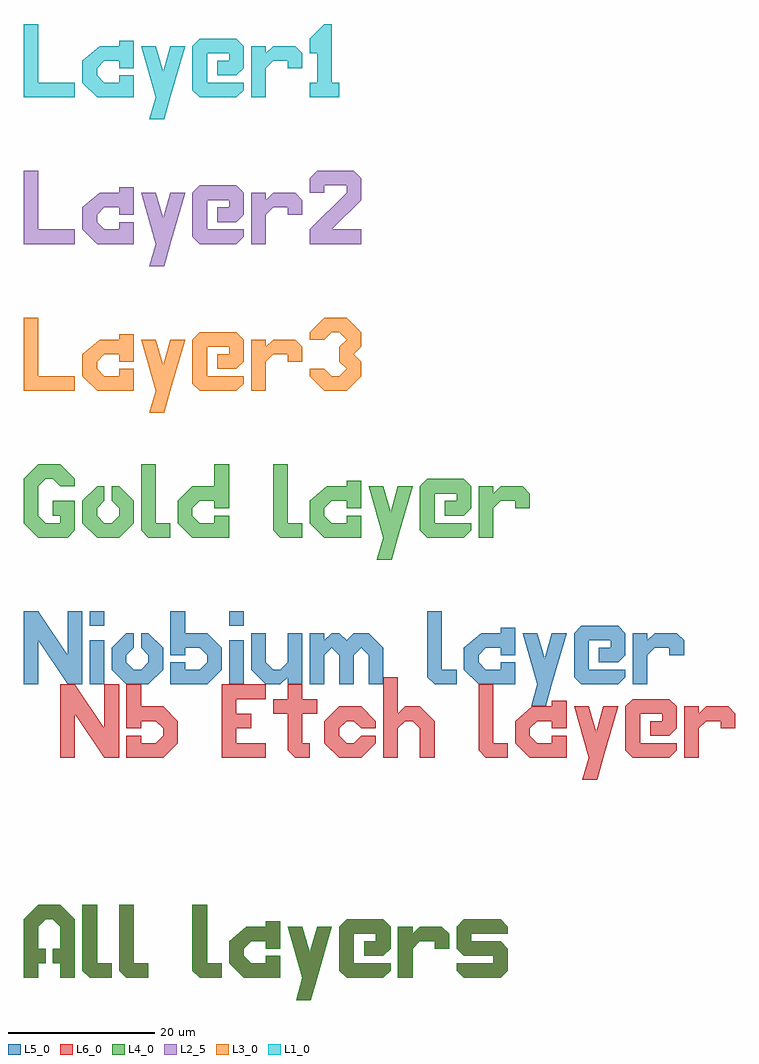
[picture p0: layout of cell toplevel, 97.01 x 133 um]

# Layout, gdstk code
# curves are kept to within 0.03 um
import gdstk
lib = gdstk.Library(unit=1e-6, precision=1e-09)
def P(c, l, *ps):  # polygons
    for p in ps: c.add(gdstk.Polygon(p, *l))
L1_0 = (1, 0)
L2_5 = (2, 5)
L3_0 = (3, 0)
L4_0 = (4, 0)
L5_0 = (5, 0)
L6_0 = (6, 0)

textline = lib.new_cell('textline')
P(textline, L1_0, [(1,10),(3,10),(3,2),(8,2),(8,0),(1,0),(1,10)],
  [(16,0),(11,0),(9,2),(9,5),(11.34,7),(14,7),(14,7.75),(16,7.75),(16,4),(14,4),(14,5),(12,5),(11,4),(11,3),(12,2),(14,2),(14,3),(16,3)],
  [(18.14,-3),(19,0),(17,7),(19,7),(20,3.5),(21,7),(23,7),(21,0),(20.14,-3),(18.14,-3)],
  [(25,0),(24,1),(24,7),(25,8),(30,8),(31,7),(31,4),(30,3),(27.4,3),(27.4,5),(29,5),(29,6),(26,6),(26,2),(31,2),(31,1),(30,0)],
  [(37,4),(37,5),(35,5),(34,4),(34,0),(32,0),(32,7),(34,7),(34,6),(35,7),(38,7),(39,6),(39,4)],
  [(41,6),(40,6),(40,8),(42,10),(43,10),(43,2),(44,2),(44,0),(40,0),(40,2),(41,2)])

text = lib.new_cell('text')
text.add(gdstk.Reference(textline, (0,0)))

textline001 = lib.new_cell('textline001')
P(textline001, L2_5, [(1,10),(3,10),(3,2),(8,2),(8,0),(1,0),(1,10)],
  [(16,0),(11,0),(9,2),(9,5),(11.34,7),(14,7),(14,7.75),(16,7.75),(16,4),(14,4),(14,5),(12,5),(11,4),(11,3),(12,2),(14,2),(14,3),(16,3)],
  [(18.14,-3),(19,0),(17,7),(19,7),(20,3.5),(21,7),(23,7),(21,0),(20.14,-3),(18.14,-3)],
  [(25,0),(24,1),(24,7),(25,8),(30,8),(31,7),(31,4),(30,3),(27.4,3),(27.4,5),(29,5),(29,6),(26,6),(26,2),(31,2),(31,1),(30,0)],
  [(37,4),(37,5),(35,5),(34,4),(34,0),(32,0),(32,7),(34,7),(34,6),(35,7),(38,7),(39,6),(39,4)],
  [(40,9),(41,10),(46,10),(47,9),(47,6),(43,2),(47,2),(47,0),(40,0),(40,2),(45,7),(45,8),(42,8),(42,7),(40,7)])

text001 = lib.new_cell('text001')
text001.add(gdstk.Reference(textline001, (0,0)))

textline002 = lib.new_cell('textline002')
P(textline002, L3_0, [(1,10),(3,10),(3,2),(8,2),(8,0),(1,0),(1,10)],
  [(16,0),(11,0),(9,2),(9,5),(11.34,7),(14,7),(14,7.75),(16,7.75),(16,4),(14,4),(14,5),(12,5),(11,4),(11,3),(12,2),(14,2),(14,3),(16,3)],
  [(18.14,-3),(19,0),(17,7),(19,7),(20,3.5),(21,7),(23,7),(21,0),(20.14,-3),(18.14,-3)],
  [(25,0),(24,1),(24,7),(25,8),(30,8),(31,7),(31,4),(30,3),(27.4,3),(27.4,5),(29,5),(29,6),(26,6),(26,2),(31,2),(31,1),(30,0)],
  [(37,4),(37,5),(35,5),(34,4),(34,0),(32,0),(32,7),(34,7),(34,6),(35,7),(38,7),(39,6),(39,4)],
  [(45,10),(47,8),(47,6),(46,5),(47,4),(47,2),(45,0),(42,0),(40,2),(40,3),(42,3),(43,2),(44,2),(45,3),(44,4),(44,6),(45,7),(44,8),(43,8),(42,7),(40,7),(40,8),(42,10)])

text002 = lib.new_cell('text002')
text002.add(gdstk.Reference(textline002, (0,0)))

textline003 = lib.new_cell('textline003')
P(textline003, L4_0, [(3,0),(1,2),(1,8),(3,10),(6,10),(8,8),(8,7),(6,7),(5,8),(4,8),(3,7),(3,3),(4,2),(6,2),(6,3),(5,3),(5,5),(8,5),(8,1),(7,0)],
  [(14,7),(16,5),(16,2),(14,0),(11,0),(9,2),(9,5),(11,7),(12,7),(12,5),(11,4),(11,3),(12,2),(13,2),(14,3),(14,4),(13,5),(13,7)],
  [(21,0),(18,0),(17,1),(17,10),(19,10),(19,2),(21,2),(21,0)],
  [(29,0),(24,0),(22,2),(22,5),(24,7),(27,7),(27,10),(29,10),(29,4),(27,4),(27,5),(25,5),(24,4),(24,3),(25,2),(27,2),(27,3),(29,3)],
  [(39,0),(36,0),(35,1),(35,10),(37,10),(37,2),(39,2),(39,0)],
  [(47,0),(42,0),(40,2),(40,5),(42.34,7),(45,7),(45,7.75),(47,7.75),(47,4),(45,4),(45,5),(43,5),(42,4),(42,3),(43,2),(45,2),(45,3),(47,3)],
  [(49.14,-3),(50,0),(48,7),(50,7),(51,3.5),(52,7),(54,7),(52,0),(51.14,-3),(49.14,-3)],
  [(56,0),(55,1),(55,7),(56,8),(61,8),(62,7),(62,4),(61,3),(58.4,3),(58.4,5),(60,5),(60,6),(57,6),(57,2),(62,2),(62,1),(61,0)],
  [(68,4),(68,5),(66,5),(65,4),(65,0),(63,0),(63,7),(65,7),(65,6),(66,7),(69,7),(70,6),(70,4)])

text003 = lib.new_cell('text003')
text003.add(gdstk.Reference(textline003, (0,0)))

textline004 = lib.new_cell('textline004')
P(textline004, L5_0, [(1,10),(3,10),(7,4),(7,10),(9,10),(9,0),(7,0),(3,6),(3,0),(1,0),(1,10)],
  [(10,0),(10,6),(12,6),(12,0),(10,0)],
  [(12,10),(12,8),(10,8),(10,10),(12,10)],
  [(18,7),(20,5),(20,2),(18,0),(15,0),(13,2),(13,5),(15,7),(16,7),(16,5),(15,4),(15,3),(16,2),(17,2),(18,3),(18,4),(17,5),(17,7)],
  [(21,3),(23,3),(23,2),(25,2),(26,3),(26,4),(25,5),(23,5),(23,4),(21,4),(21,10),(23,10),(23,7),(26,7),(28,5),(28,2),(26,0),(21,0)],
  [(29,0),(29,6),(31,6),(31,0),(29,0)],
  [(31,10),(31,8),(29,8),(29,10),(31,10)],
  [(34,7),(34,3),(35,2),(36,2),(37,3),(37,7),(39,7),(39,0),(37,0),(37,1),(36,0),(34,0),(32,2),(32,7)],
  [(44,4),(43,5),(42,4),(42,0),(40,0),(40,7),(42,7),(42,6),(43,7),(44,7),(45,6),(46,7),(48,7),(50,5),(50,0),(48,0),(48,4),(47,5),(46,4),(46,0),(44,0)],
  [(60,0),(57,0),(56,1),(56,10),(58,10),(58,2),(60,2),(60,0)],
  [(68,0),(63,0),(61,2),(61,5),(63.34,7),(66,7),(66,7.75),(68,7.75),(68,4),(66,4),(66,5),(64,5),(63,4),(63,3),(64,2),(66,2),(66,3),(68,3)],
  [(70.14,-3),(71,0),(69,7),(71,7),(72,3.5),(73,7),(75,7),(73,0),(72.14,-3),(70.14,-3)],
  [(77,0),(76,1),(76,7),(77,8),(82,8),(83,7),(83,4),(82,3),(79.4,3),(79.4,5),(81,5),(81,6),(78,6),(78,2),(83,2),(83,1),(82,0)],
  [(89,4),(89,5),(87,5),(86,4),(86,0),(84,0),(84,7),(86,7),(86,6),(87,7),(90,7),(91,6),(91,4)])

text004 = lib.new_cell('text004')
text004.add(gdstk.Reference(textline004, (0,0)))

textline005 = lib.new_cell('textline005')
P(textline005, L6_0, [(1,10),(3,10),(7,4),(7,10),(9,10),(9,0),(7,0),(3,6),(3,0),(1,0),(1,10)],
  [(10,3),(12,3),(12,2),(14,2),(15,3),(15,4),(14,5),(12,5),(12,4),(10,4),(10,10),(12,10),(12,7),(15,7),(17,5),(17,2),(15,0),(10,0)],
  [(29,10),(29,8),(25,8),(25,6),(27,6),(27,4),(25,4),(25,2),(29,2),(29,0),(23,0),(23,10),(29,10)],
  [(35,0),(33,0),(32,1),(32,6),(30,6),(30,8),(32,8),(32,10),(34,10),(34,8),(36,8),(36,6),(34,6),(34,2),(35,2)],
  [(44,2),(42,0),(39,0),(37,2),(37,5),(39,7),(42,7),(44,5),(44,4),(42,4),(41,5),(40,5),(39,4),(39,3),(40,2),(41,2),(42,3),(44,3)],
  [(50,0),(50,4),(49,5),(48,5),(47,4),(47,0),(45,0),(45,11),(47,11),(47,6),(48,7),(50,7),(52,5),(52,0)],
  [(62,0),(59,0),(58,1),(58,10),(60,10),(60,2),(62,2),(62,0)],
  [(70,0),(65,0),(63,2),(63,5),(65.34,7),(68,7),(68,7.75),(70,7.75),(70,4),(68,4),(68,5),(66,5),(65,4),(65,3),(66,2),(68,2),(68,3),(70,3)],
  [(72.14,-3),(73,0),(71,7),(73,7),(74,3.5),(75,7),(77,7),(75,0),(74.14,-3),(72.14,-3)],
  [(79,0),(78,1),(78,7),(79,8),(84,8),(85,7),(85,4),(84,3),(81.4,3),(81.4,5),(83,5),(83,6),(80,6),(80,2),(85,2),(85,1),(84,0)],
  [(91,4),(91,5),(89,5),(88,4),(88,0),(86,0),(86,7),(88,7),(88,6),(89,7),(92,7),(93,6),(93,4)])

text005 = lib.new_cell('text005')
text005.add(gdstk.Reference(textline005, (0,0)))

textline006 = lib.new_cell('textline006')
P(textline006, L4_0, [(1,8),(3,10),(6.01,10),(8,8),(8,0),(6.01,0),(6.01,2),(5,2),(5,4),(6.01,4),(6.01,7),(5,8),(4,8),(3,7),(3,4),(4,4),(4,2),(3,2),(3,0),(0.99,0)],
  [(13,0),(10,0),(9,1),(9,10),(11,10),(11,2),(13,2),(13,0)],
  [(18,0),(15,0),(14,1),(14,10),(16,10),(16,2),(18,2),(18,0)],
  [(28,0),(25,0),(24,1),(24,10),(26,10),(26,2),(28,2),(28,0)],
  [(36,0),(31,0),(29,2),(29,5),(31.34,7),(34,7),(34,7.75),(36,7.75),(36,4),(34,4),(34,5),(32,5),(31,4),(31,3),(32,2),(34,2),(34,3),(36,3)],
  [(38.14,-3),(39,0),(37,7),(39,7),(40,3.5),(41,7),(43,7),(41,0),(40.14,-3),(38.14,-3)],
  [(45,0),(44,1),(44,7),(45,8),(50,8),(51,7),(51,4),(50,3),(47.4,3),(47.4,5),(49,5),(49,6),(46,6),(46,2),(51,2),(51,1),(50,0)],
  [(57,4),(57,5),(55,5),(54,4),(54,0),(52,0),(52,7),(54,7),(54,6),(55,7),(58,7),(59,6),(59,4)],
  [(61,0),(60,1),(60,2),(65,2),(65,3),(61,3),(60,4),(60,7),(61,8),(66,8),(67,7),(67,6),(62,6),(62,5),(66,5),(67,4),(67,1),(66,0)])
P(textline006, L5_0, [(1,8),(3,10),(6.01,10),(8,8),(8,0),(6.01,0),(6.01,2),(5,2),(5,4),(6.01,4),(6.01,7),(5,8),(4,8),(3,7),(3,4),(4,4),(4,2),(3,2),(3,0),(0.99,0)],
  [(13,0),(10,0),(9,1),(9,10),(11,10),(11,2),(13,2),(13,0)],
  [(18,0),(15,0),(14,1),(14,10),(16,10),(16,2),(18,2),(18,0)],
  [(28,0),(25,0),(24,1),(24,10),(26,10),(26,2),(28,2),(28,0)],
  [(36,0),(31,0),(29,2),(29,5),(31.34,7),(34,7),(34,7.75),(36,7.75),(36,4),(34,4),(34,5),(32,5),(31,4),(31,3),(32,2),(34,2),(34,3),(36,3)],
  [(38.14,-3),(39,0),(37,7),(39,7),(40,3.5),(41,7),(43,7),(41,0),(40.14,-3),(38.14,-3)],
  [(45,0),(44,1),(44,7),(45,8),(50,8),(51,7),(51,4),(50,3),(47.4,3),(47.4,5),(49,5),(49,6),(46,6),(46,2),(51,2),(51,1),(50,0)],
  [(57,4),(57,5),(55,5),(54,4),(54,0),(52,0),(52,7),(54,7),(54,6),(55,7),(58,7),(59,6),(59,4)],
  [(61,0),(60,1),(60,2),(65,2),(65,3),(61,3),(60,4),(60,7),(61,8),(66,8),(67,7),(67,6),(62,6),(62,5),(66,5),(67,4),(67,1),(66,0)])
P(textline006, L6_0, [(1,8),(3,10),(6.01,10),(8,8),(8,0),(6.01,0),(6.01,2),(5,2),(5,4),(6.01,4),(6.01,7),(5,8),(4,8),(3,7),(3,4),(4,4),(4,2),(3,2),(3,0),(0.99,0)],
  [(13,0),(10,0),(9,1),(9,10),(11,10),(11,2),(13,2),(13,0)],
  [(18,0),(15,0),(14,1),(14,10),(16,10),(16,2),(18,2),(18,0)],
  [(28,0),(25,0),(24,1),(24,10),(26,10),(26,2),(28,2),(28,0)],
  [(36,0),(31,0),(29,2),(29,5),(31.34,7),(34,7),(34,7.75),(36,7.75),(36,4),(34,4),(34,5),(32,5),(31,4),(31,3),(32,2),(34,2),(34,3),(36,3)],
  [(38.14,-3),(39,0),(37,7),(39,7),(40,3.5),(41,7),(43,7),(41,0),(40.14,-3),(38.14,-3)],
  [(45,0),(44,1),(44,7),(45,8),(50,8),(51,7),(51,4),(50,3),(47.4,3),(47.4,5),(49,5),(49,6),(46,6),(46,2),(51,2),(51,1),(50,0)],
  [(57,4),(57,5),(55,5),(54,4),(54,0),(52,0),(52,7),(54,7),(54,6),(55,7),(58,7),(59,6),(59,4)],
  [(61,0),(60,1),(60,2),(65,2),(65,3),(61,3),(60,4),(60,7),(61,8),(66,8),(67,7),(67,6),(62,6),(62,5),(66,5),(67,4),(67,1),(66,0)])

text006 = lib.new_cell('text006')
text006.add(gdstk.Reference(textline006, (0,0)))

toplevel = lib.new_cell('toplevel')
toplevel.add(gdstk.Reference(text, (0,0)))
toplevel.add(gdstk.Reference(text001, (0,-20)))
toplevel.add(gdstk.Reference(text002, (0,-40)))
toplevel.add(gdstk.Reference(text003, (0,-60)))
toplevel.add(gdstk.Reference(text004, (0,-80)))
toplevel.add(gdstk.Reference(text005, (5,-90)))
toplevel.add(gdstk.Reference(text006, (0,-120)))

lib.write_gds('toplevel.gds')
